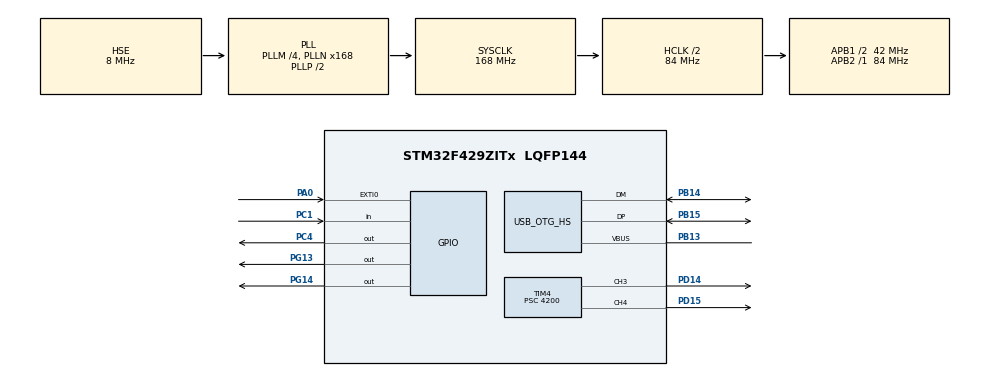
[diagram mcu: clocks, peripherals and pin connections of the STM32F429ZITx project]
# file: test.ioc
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FATFS._MAX_SS=4096
Mcu.Family=STM32F4
Mcu.Name=STM32F429ZITx
Mcu.Package=LQFP144
NVIC.EXTI0_IRQn=true\:0\:0\:false\:false\:true\:true\:true
NVIC.OTG_HS_IRQn=true\:0\:0\:false\:false\:true\:false\:true
NVIC.PriorityGroup=NVIC_PRIORITYGROUP_4
NVIC.TIM3_IRQn=true\:0\:0\:false\:false\:true\:true\:true
PA0/WKUP.GPIO_ModeDefaultEXTI=GPIO_MODE_IT_RISING_FALLING
PA0/WKUP.Signal=GPXTI0
PB13.Mode=Activate_VBUS_FS
PB13.Signal=USB_OTG_HS_VBUS
PB14.Mode=Host_FS
PB14.Signal=USB_OTG_HS_DM
PB15.Mode=Host_FS
PB15.Signal=USB_OTG_HS_DP
PC1.Signal=GPIO_Input
PC4.Signal=GPIO_Output
PD14.GPIO_Speed=GPIO_SPEED_FREQ_HIGH
PD14.Signal=S_TIM4_CH3
PD15.Signal=S_TIM4_CH4
PG13.Signal=GPIO_Output
PG14.Signal=GPIO_Output
PH0/OSC_IN.Mode=HSE-External-Oscillator
PH0/OSC_IN.Signal=RCC_OSC_IN
PH1/OSC_OUT.Mode=HSE-External-Oscillator
PH1/OSC_OUT.Signal=RCC_OSC_OUT
ProjectManager.HeapSize=0x200
ProjectManager.StackSize=0x400
ProjectManager.TargetToolchain=MDK-ARM V5
RCC.48MHZClocksFreq_Value=48000000
RCC.AHBCLKDivider=RCC_SYSCLK_DIV2
RCC.AHBFreq_Value=84000000
RCC.APB1CLKDivider=RCC_HCLK_DIV2
RCC.APB1Freq_Value=42000000
RCC.APB1TimFreq_Value=84000000
RCC.APB2Freq_Value=84000000
RCC.APB2TimFreq_Value=84000000
RCC.CortexFreq_Value=84000000
RCC.HCLKFreq_Value=84000000
RCC.HSE_VALUE=8000000
RCC.HSI_VALUE=16000000
RCC.LSE_VALUE=32768
RCC.PLLM=4
RCC.PLLN=168
RCC.PLLQ=7
RCC.SYSCLKFreq_VALUE=168000000
RCC.SYSCLKSource=RCC_SYSCLKSOURCE_PLLCLK
RCC.VCOOutputFreq_Value=336000000
SH.S_TIM4_CH3.0=TIM4_CH3,PWM Generation3 CH3
SH.S_TIM4_CH4.0=TIM4_CH4,PWM Generation4 CH4
TIM3.Period=1999
TIM3.Prescaler=42000
TIM4.Channel-PWM\ Generation3\ CH3=TIM_CHANNEL_3
TIM4.Channel-PWM\ Generation4\ CH4=TIM_CHANNEL_4
TIM4.Period=400
TIM4.Prescaler=4200
USB_HOST.USBH_HandleTypeDef-MSC_HS=hUsbHostHS
USB_HOST.VirtualModeHS=Msc
USB_OTG_HS.VirtualMode-Host_FS=Host_FS
VP_FATFS_VS_USB.Mode=USB
VP_TIM2_VS_ControllerModeClock.Mode=Clock Mode
VP_TIM3_VS_ClockSourceINT.Mode=Internal
VP_TIM5_VS_ControllerModeClock.Mode=Clock Mode
VP_USB_HOST_VS_USB_HOST_MSC_HS.Mode=MSC_HS
board=custom

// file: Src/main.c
/* USER CODE BEGIN Header */
/**
  ******************************************************************************
  * @file           : main.c
  * @brief          : Main program body
  ******************************************************************************
  * @attention
  *
  * <h2><center>&copy; Copyright (c) 2019 STMicroelectronics.
  * All rights reserved.</center></h2>
  *
  * This software component is licensed by ST under BSD 3-Clause license,
  * the "License"; You may not use this file except in compliance with the
  * License. You may obtain a copy of the License at:
  *                        opensource.org/licenses/BSD-3-Clause
  *
  ******************************************************************************
  */
/* USER CODE END Header */

#include "main.h"
#include "fatfs.h"
#include "usb_host.h"

TIM_HandleTypeDef htim3;
TIM_HandleTypeDef htim4;

/* USER CODE BEGIN PV */
extern ApplicationTypeDef Appli_state;
FATFS myUsbFatFS;
char USBH_Path[4];

FIL myFile;
FRESULT res;
UINT byteswritten, bytesread;
char rwtext[100000];  //Read/Write buf

float data_s[500],data_duty[500],data_count[500],d_motor[500],d_value[500];//mang du lieu
char d_s[100],dd[100],dc[100],dm[100],dv[100],data0[100];//bien tam cho mang du lieu
uint16_t ds=0,ss=0;    // co de luu gia tri cho mang du lieu

int n=0,j;
int set_write_usb=0;
int data_i=0,flag1,flag2;
//float data_s=3.14215;
float stt;

uint16_t duty=0, fade=4;
int data_motor=0;
//----PID----
//float error,flag,i,d,preError,ki=0.004,kp=1.2,kd=1,t=0;
float error,flag,i,d,preError,ki=0.01,kp=0.2,kd=1,t=0;
float value=1,count_value, precount;

bool Usb_Write_float(float data_s[500], float data_duty[500], float data_count[500]);
int gui(float data_s[100], float data_duty[100], float data_count[100]);

/* USER CODE END PV */

void SystemClock_Config(void);
static void MX_GPIO_Init(void);
static void MX_TIM4_Init(void);
static void MX_TIM2_Init(void);
static void MX_TIM3_Init(void);
static void MX_TIM5_Init(void);
void MX_USB_HOST_Process(void);

int main(void)
{

  /* MCU Configuration--------------------------------------------------------*/

  /* Reset of all peripherals, Initializes the Flash interface and the Systick. */
    HAL_Init();

  /* Configure the system clock */
  SystemClock_Config();

  /* Initialize all configured peripherals */
  MX_GPIO_Init();
  MX_TIM4_Init();
  MX_TIM2_Init();
  MX_TIM3_Init();
  MX_TIM5_Init();
  MX_USB_HOST_Init();
  MX_FATFS_Init();
  /* USER CODE BEGIN 2 */
	HAL_TIM_Base_Start_IT(&htim3);
	HAL_TIM_PWM_Start(&htim4,TIM_CHANNEL_4);

  /* USER CODE END 2 */

  /* Infinite loop */
  while (1)
  {
    MX_USB_HOST_Process();

    /* USER CODE BEGIN 3 */

//		__HAL_TIM_SET_COMPARE(&htim4,TIM_CHANNEL_3,duty);
		__HAL_TIM_SET_COMPARE(&htim4,TIM_CHANNEL_4,duty);

			switch(Appli_state)
		{
			case APPLICATION_IDLE:
				n=10;
				break;

			case APPLICATION_START:
				n=2;
				if(f_mount(&myUsbFatFS, (TCHAR const*)USBH_Path, 0) == FR_OK)
				{
					n=2;

				}
				break;

			case APPLICATION_READY:

				n=3;
//			HAL_GPIO_WritePin(GPIOG,GPIO_PIN_13, 1);
			if(ds==499)
				{
					while(Usb_Write_float(data_s,data_duty,data_count)==0){};
//						Usb_Write_float(data_s,data_duty,data_count);
						HAL_GPIO_WritePin(GPIOG,GPIO_PIN_13, 1);

//						HAL_GPIO_WritePin(GPIOG,GPIO_PIN_13, 0);
//						Usb_Write_float(data_s,data_duty,data_count);
					ss++;
					ds=0;
					HAL_Delay(1000);
					HAL_GPIO_WritePin(GPIOG,GPIO_PIN_13, 0);
				}
				break;

			case APPLICATION_DISCONNECT:
				n=4;
				//Turn Green LED OFF
				//HAL_GPIO_WritePin(LED1_GPIO_Port, LED1_Pin, GPIO_PIN_RESET);
				break;

		}

		if(duty>=400)
		{
			duty=0;
		}
		HAL_Delay(50);

  }

  }

  /* USER CODE END 3 */

void SystemClock_Config(void)
{
  RCC_OscInitTypeDef RCC_OscInitStruct = {0};
  RCC_ClkInitTypeDef RCC_ClkInitStruct = {0};

  /** Configure the main internal regulator output voltage
  */
  __HAL_RCC_PWR_CLK_ENABLE();
  __HAL_PWR_VOLTAGESCALING_CONFIG(PWR_REGULATOR_VOLTAGE_SCALE3);
  /** Initializes the CPU, AHB and APB busses clocks
  */
  RCC_OscInitStruct.OscillatorType = RCC_OSCILLATORTYPE_HSE;
  RCC_OscInitStruct.HSEState = RCC_HSE_ON;
  RCC_OscInitStruct.PLL.PLLState = RCC_PLL_ON;
  RCC_OscInitStruct.PLL.PLLSource = RCC_PLLSOURCE_HSE;
  RCC_OscInitStruct.PLL.PLLM = 4;
  RCC_OscInitStruct.PLL.PLLN = 168;
  RCC_OscInitStruct.PLL.PLLP = RCC_PLLP_DIV2;
  RCC_OscInitStruct.PLL.PLLQ = 7;
  if (HAL_RCC_OscConfig(&RCC_OscInitStruct) != HAL_OK)
  {
    Error_Handler();
  }
  /** Initializes the CPU, AHB and APB busses clocks
  */
  RCC_ClkInitStruct.ClockType = RCC_CLOCKTYPE_HCLK|RCC_CLOCKTYPE_SYSCLK
                              |RCC_CLOCKTYPE_PCLK1|RCC_CLOCKTYPE_PCLK2;
  RCC_ClkInitStruct.SYSCLKSource = RCC_SYSCLKSOURCE_PLLCLK;
  RCC_ClkInitStruct.AHBCLKDivider = RCC_SYSCLK_DIV2;
  RCC_ClkInitStruct.APB1CLKDivider = RCC_HCLK_DIV2;
  RCC_ClkInitStruct.APB2CLKDivider = RCC_HCLK_DIV1;

  if (HAL_RCC_ClockConfig(&RCC_ClkInitStruct, FLASH_LATENCY_2) != HAL_OK)
  {
    Error_Handler();
  }
}

static void MX_TIM2_Init(void)
{

}

static void MX_TIM3_Init(void)
{

  TIM_ClockConfigTypeDef sClockSourceConfig = {0};
  TIM_MasterConfigTypeDef sMasterConfig = {0};

  htim3.Instance = TIM3;
  htim3.Init.Prescaler = 42000;
  htim3.Init.CounterMode = TIM_COUNTERMODE_UP;
  htim3.Init.Period = 199;
  htim3.Init.ClockDivision = TIM_CLOCKDIVISION_DIV1;
  htim3.Init.AutoReloadPreload = TIM_AUTORELOAD_PRELOAD_DISABLE;
  if (HAL_TIM_Base_Init(&htim3) != HAL_OK)
  {
    Error_Handler();
  }
  sClockSourceConfig.ClockSource = TIM_CLOCKSOURCE_INTERNAL;
  if (HAL_TIM_ConfigClockSource(&htim3, &sClockSourceConfig) != HAL_OK)
  {
    Error_Handler();
  }
  sMasterConfig.MasterOutputTrigger = TIM_TRGO_RESET;
  sMasterConfig.MasterSlaveMode = TIM_MASTERSLAVEMODE_DISABLE;
  if (HAL_TIMEx_MasterConfigSynchronization(&htim3, &sMasterConfig) != HAL_OK)
  {
    Error_Handler();
  }

}

static void MX_TIM4_Init(void)
{

  TIM_MasterConfigTypeDef sMasterConfig = {0};
  TIM_OC_InitTypeDef sConfigOC = {0};

  htim4.Instance = TIM4;
  htim4.Init.Prescaler = 21;
  htim4.Init.CounterMode = TIM_COUNTERMODE_UP;
  htim4.Init.Period = 400;
  htim4.Init.ClockDivision = TIM_CLOCKDIVISION_DIV1;
  htim4.Init.AutoReloadPreload = TIM_AUTORELOAD_PRELOAD_DISABLE;
  if (HAL_TIM_PWM_Init(&htim4) != HAL_OK)
  {
    Error_Handler();
  }
  sMasterConfig.MasterOutputTrigger = TIM_TRGO_RESET;
  sMasterConfig.MasterSlaveMode = TIM_MASTERSLAVEMODE_DISABLE;
  if (HAL_TIMEx_MasterConfigSynchronization(&htim4, &sMasterConfig) != HAL_OK)
  {
    Error_Handler();
  }
  sConfigOC.OCMode = TIM_OCMODE_PWM1;
  sConfigOC.Pulse = 0;
  sConfigOC.OCPolarity = TIM_OCPOLARITY_HIGH;
  sConfigOC.OCFastMode = TIM_OCFAST_DISABLE;
  if (HAL_TIM_PWM_ConfigChannel(&htim4, &sConfigOC, TIM_CHANNEL_3) != HAL_OK)
  {
    Error_Handler();
  }
  if (HAL_TIM_PWM_ConfigChannel(&htim4, &sConfigOC, TIM_CHANNEL_4) != HAL_OK)
  {
    Error_Handler();
  }
  HAL_TIM_MspPostInit(&htim4);

}

static void MX_TIM5_Init(void)
{

}

static void MX_GPIO_Init(void)
{
  GPIO_InitTypeDef GPIO_InitStruct = {0};

  /* GPIO Ports Clock Enable */
  __HAL_RCC_GPIOH_CLK_ENABLE();
  __HAL_RCC_GPIOC_CLK_ENABLE();
  __HAL_RCC_GPIOA_CLK_ENABLE();
  __HAL_RCC_GPIOB_CLK_ENABLE();
  __HAL_RCC_GPIOD_CLK_ENABLE();
  __HAL_RCC_GPIOG_CLK_ENABLE();

  /*Configure GPIO pin Output Level */
  HAL_GPIO_WritePin(GPIOC, GPIO_PIN_4, GPIO_PIN_RESET);

  /*Configure GPIO pin Output Level */
  HAL_GPIO_WritePin(GPIOG, GPIO_PIN_13|GPIO_PIN_14, GPIO_PIN_RESET);

  /*Configure GPIO pin : PC1 */
  GPIO_InitStruct.Pin = GPIO_PIN_1;
  GPIO_InitStruct.Mode = GPIO_MODE_INPUT;
  GPIO_InitStruct.Pull = GPIO_NOPULL;
  HAL_GPIO_Init(GPIOC, &GPIO_InitStruct);

  /*Configure GPIO pin : PA0 */
  GPIO_InitStruct.Pin = GPIO_PIN_0;
  GPIO_InitStruct.Mode = GPIO_MODE_IT_RISING_FALLING;
  GPIO_InitStruct.Pull = GPIO_NOPULL;
  HAL_GPIO_Init(GPIOA, &GPIO_InitStruct);

  /*Configure GPIO pin : PC4 */
  GPIO_InitStruct.Pin = GPIO_PIN_4;
  GPIO_InitStruct.Mode = GPIO_MODE_OUTPUT_PP;
  GPIO_InitStruct.Pull = GPIO_NOPULL;
  GPIO_InitStruct.Speed = GPIO_SPEED_FREQ_LOW;
  HAL_GPIO_Init(GPIOC, &GPIO_InitStruct);

  /*Configure GPIO pins : PG13 PG14 */
  GPIO_InitStruct.Pin = GPIO_PIN_13|GPIO_PIN_14;
  GPIO_InitStruct.Mode = GPIO_MODE_OUTPUT_PP;
  GPIO_InitStruct.Pull = GPIO_NOPULL;
  GPIO_InitStruct.Speed = GPIO_SPEED_FREQ_LOW;
  HAL_GPIO_Init(GPIOG, &GPIO_InitStruct);

  /* EXTI interrupt init*/
  HAL_NVIC_SetPriority(EXTI0_IRQn, 0, 0);
  HAL_NVIC_EnableIRQ(EXTI0_IRQn);

}

/* USER CODE BEGIN 4 */
void HAL_GPIO_EXTI_Callback(uint16_t GPIO_Pin)
{
	if(ds<500)
	{
	count_value++;
//	HAL_GPIO_TogglePin(GPIOG,GPIO_PIN_13);
//	data1=HAL_GPIO_ReadPin(GPIOA, GPIO_PIN_0);
//	data2=HAL_GPIO_ReadPin(GPIOC, GPIO_PIN_1);
	if(HAL_GPIO_ReadPin(GPIOA, GPIO_PIN_0)==HAL_GPIO_ReadPin(GPIOC, GPIO_PIN_1))
	{
		data_motor=1;
	}else data_motor=2;
}
}

void HAL_TIM_PeriodElapsedCallback(TIM_HandleTypeDef *htim)
{
	if(ds<500)
	if(htim->Instance==htim3.Instance)
	{

		HAL_GPIO_TogglePin(GPIOG,GPIO_PIN_14);
		if((precount<=count_value+4)&&(precount>=count_value-4))
		{count_value=precount;
		}

		error = value*10-count_value/10;
		duty=duty+error*1;
		i=i+error;
		d=(error-preError);
		duty=duty+(kp*error)+(ki*i)+(kd*d);
		preError=error;
		//luu data

		data_s[ds]=ds;

		data_duty[ds]=duty;
		d_motor[ds]=data_motor;
		d_value[ds]=value;
		data_count[ds]=count_value;
		precount=count_value;
		ds++;
		//xoa bien dem
		count_value=0;
	}

//	if(htim->Instance==htim2.Instance)
//		{
//			flag1++;
//			HAL_GPIO_TogglePin(GPIOG,GPIO_PIN_13);
//		}
//
//	if(htim->Instance==htim5.Instance)
//		{
//			flag2++;
//			HAL_GPIO_TogglePin(GPIOG,GPIO_PIN_13);
//		}
}

bool Usb_Write_float(float data_s[500], float data_duty[500], float data_count[500])
{

	if(f_open(&myFile, "TEST2.txt", FA_WRITE| FA_CREATE_ALWAYS) !=FR_OK)
	{
		return 0;
	}
//	for( i=0; i<1000; i++)
//	{
//		res = f_read(&myFile, (uint8_t*)&rwtext[i], 1, &bytesread);
//		if(rwtext[i] == 0x00) // NULL string
//		{
//			bytesread = i;
//			break;
//		}
//	}

	for( j=0;j<500;j++)
	{
		data_s[j]=ss*500+data_s[j];
		sprintf(d_s,"%.3f",data_s[j]);
		sprintf(dd,"%.3f",data_duty[j]);
		sprintf(dc,"%.3f",data_count[j]);
		sprintf(dm,"%.3f",d_motor[j]);
		sprintf(dv,"%.3f",d_value[j]);

		snprintf(data0,100,"%s%s%s%s%s%s%s%s%s%s", d_s,"\t",dd,"\t",dm,"\t",dv,"\t",dc,"\n");
		strcat(rwtext,data0);

		HAL_Delay(1);
	}

	res = f_write(&myFile,(const void *)rwtext, strlen(rwtext),&byteswritten);
		if(res!= FR_OK||(byteswritten==0))
	{
		return 0;
	}
//	sprintf(rwtext, "");
	f_close(&myFile);
	return 1;
}
/* USER CODE END 4 */

void Error_Handler(void)
{
}

/************************ (C) COPYRIGHT STMicroelectronics *****END OF FILE****/
